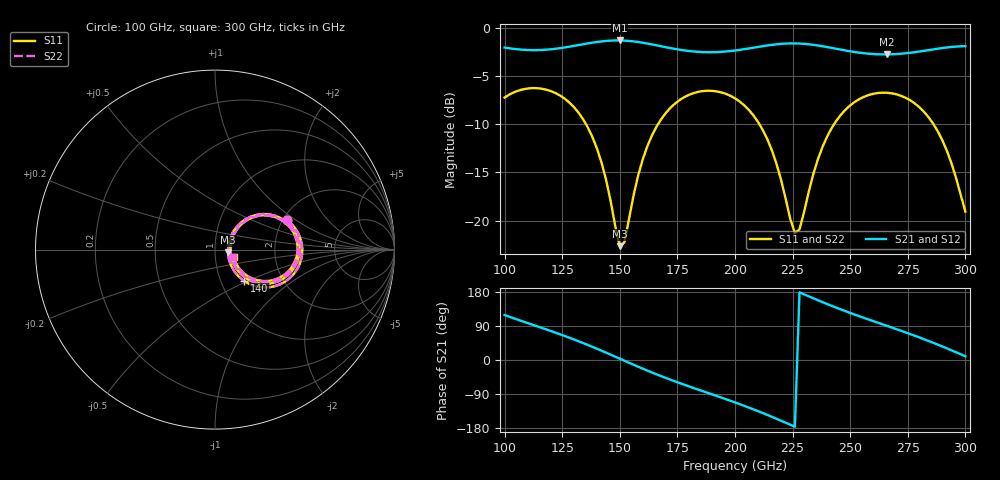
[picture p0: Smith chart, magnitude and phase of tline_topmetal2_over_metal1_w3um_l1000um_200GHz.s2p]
#  GHZ S DB R 50
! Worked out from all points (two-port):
!   101 points, 100 GHz to 300 GHz, reference 50 ohm
!   highest |S21| = -1.33 dB at 150 GHz (marker M1); lowest = -2.8 dB at 266 GHz (marker M2)
!   |S21| within 3 dB of the highest: start of sweep to end of sweep
!   lowest |S11| = -22.6 dB at 150 GHz (marker M3), VSWR 1.16, Z = 57.8 - j1.77 ohm
!   |S11| at or under -10 dB: 135.3 GHz to 166.6 GHz (31.29 GHz wide, 20.7 % of centre); 210.6 GHz to 243 GHz (32.45 GHz wide, 14.3 % of centre); 286.2 GHz to end of sweep
!   |S22| runs from -22.6 to -6.3 dB; largest |S21 - S12| = 1.4e-13
!   S11 on the Smith chart (normalised r, x): 100 GHz: 2.11, +0.85; 140 GHz: 1.29, -0.48; 300 GHz: 1.23, -0.10
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100  -7.24 22.1  -2.06 118.6  -2.06 118.6  -7.24 22.2
116  -6.32 -6.6  -2.31 85.0  -2.31 85.0  -6.32 -6.5
126  -7.34 -24.6  -2.06 63.5  -2.06 63.5  -7.34 -24.5
134  -9.46 -38.8  -1.72 44.9  -1.72 44.9  -9.46 -38.7
140  -12.46 -47.3  -1.49 29.9  -1.49 29.9  -12.46 -47.2
150  -22.63 -11.9  -1.33 3.4  -1.33 3.4  -22.63 -11.8
152  -22.22 17.2  -1.34 -1.9  -1.34 -1.9  -22.22 17.3
160  -13.61 46.2  -1.56 -23.0  -1.56 -23.0  -13.61 46.3
168  -9.47 36.1  -1.93 -42.7  -1.93 -42.7  -9.47 36.1
184  -6.65 8.4  -2.51 -78.1  -2.51 -78.1  -6.65 8.4
200  -7.32 -19.3  -2.37 -112.0  -2.37 -112.0  -7.32 -19.3
214  -11.54 -41.2  -1.85 -144.8  -1.85 -144.8  -11.54 -41.1
226  -21.27 -7.2  -1.63 -176.1  -1.63 -176.1  -21.19 -7.0
228  -20.89 15.8  -1.65 178.6  -1.65 178.6  -20.81 15.7
234  -15.16 43.4  -1.78 162.9  -1.78 162.9  -15.14 43.1
246  -9.01 32.4  -2.28 133.4  -2.28 133.4  -9.01 32.2
256  -7.16 15.8  -2.65 111.1  -2.65 111.1  -7.16 15.7
266  -6.74 -1.0  -2.77 90.0  -2.77 90.0  -6.75 -1.2
268  -6.80 -4.4  -2.76 85.8  -2.76 85.8  -6.80 -4.5
286  -9.94 -33.3  -2.25 45.5  -2.25 45.5  -9.95 -33.6
292  -12.77 -39.2  -2.05 30.6  -2.05 30.6  -12.79 -39.5
300  -19.05 -21.7  -1.92 9.9  -1.92 9.9  -19.12 -22.0
